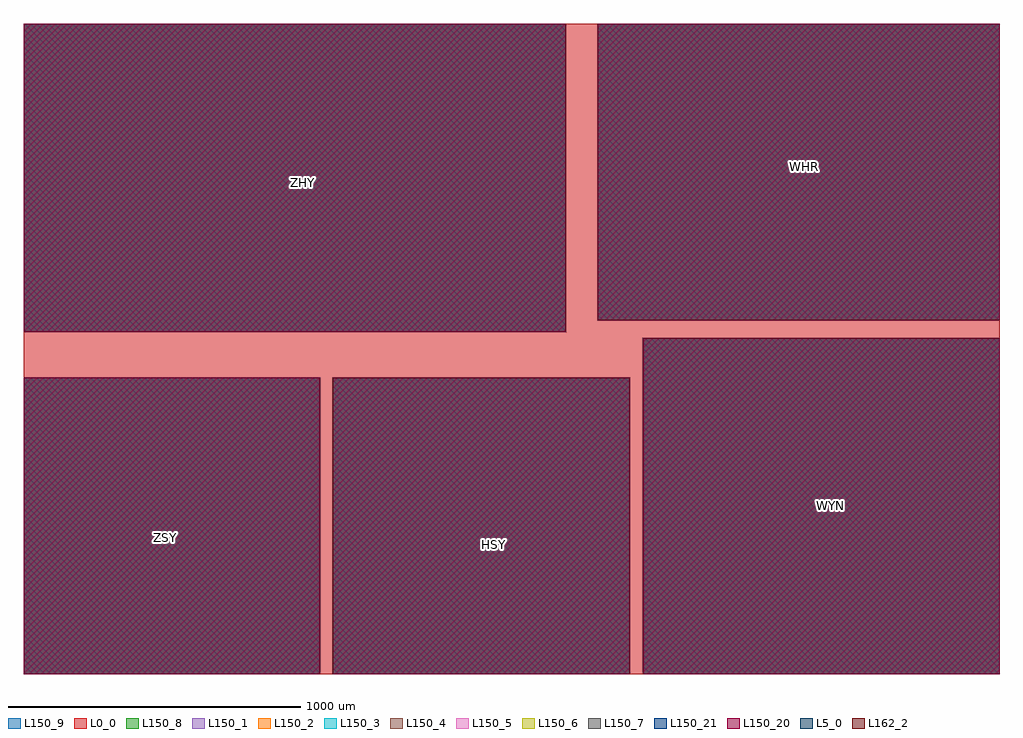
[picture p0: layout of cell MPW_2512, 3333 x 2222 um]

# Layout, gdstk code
import gdstk
lib = gdstk.Library(unit=1e-6, precision=1e-09)
def R(c, l, rs):  # rectangles x0, y0, x1, y1
    for r in rs: c.add(gdstk.rectangle(r[:2], r[2:], *l))
def P(c, l, *ps):  # polygons
    for p in ps: c.add(gdstk.Polygon(p, *l))
L0_0 = (0, 0)
L5_0 = (5, 0)
L150_1 = (150, 1)
L150_2 = (150, 2)
L150_3 = (150, 3)
L150_4 = (150, 4)
L150_5 = (150, 5)
L150_6 = (150, 6)
L150_7 = (150, 7)
L150_8 = (150, 8)
L150_9 = (150, 9)
L150_20 = (150, 20)
L150_21 = (150, 21)
L162_2 = (162, 2)

mpw_2512 = lib.new_cell('MPW_2512')
R(mpw_2512, L0_0, [(0,0,1011.32,1011.32), (0,0,3333,2222), (1057.32,0,2068.64,1011.32), (2116.68,0,3333,1146.32), (0,1170.68,1851.32,2222), (1961.68,1210.68,3333,2222)])
P(mpw_2512, L5_0, [(1961.23,2222),(1961.68,2222),(1961.68,1210.68),(3333,1210.68),(3333,1210.23),(1961.23,1210.23)],
  [(3333,1146.77),(2116.23,1146.77),(2116.23,0),(2116.68,0),(2116.68,1146.32),(3333,1146.32)],
  [(1011.77,1011.77),(0,1011.77),(0,1011.32),(1011.32,1011.32),(1011.32,0),(1011.77,0)],
  [(2069.09,1011.77),(1056.87,1011.77),(1056.87,0),(1057.32,0),(1057.32,1011.32),(2068.64,1011.32),(2068.64,0),(2069.09,0)],
  [(1851.77,2222),(1851.32,2222),(1851.32,1170.68),(0,1170.68),(0,1170.23),(1851.77,1170.23)])
R(mpw_2512, L150_1, [(0,0,1012.32,1012.32), (1056.32,0,2069.64,1012.32), (2115.68,0,3333,1147.32), (0,1169.68,1852.32,2222), (1960.68,1209.68,3333,2222)])
R(mpw_2512, L150_2, [(0,0,1012.32,1012.32), (1056.32,0,2069.64,1012.32), (2115.68,0,3333,1147.32), (0,1169.68,1852.32,2222), (1960.68,1209.68,3333,2222)])
R(mpw_2512, L150_3, [(0,0,1012.32,1012.32), (1056.32,0,2069.64,1012.32), (2115.68,0,3333,1147.32), (0,1169.68,1852.32,2222), (1960.68,1209.68,3333,2222)])
R(mpw_2512, L150_4, [(0,0,1012.32,1012.32), (1056.32,0,2069.64,1012.32), (2115.68,0,3333,1147.32), (0,1169.68,1852.32,2222), (1960.68,1209.68,3333,2222)])
R(mpw_2512, L150_5, [(0,0,1012.32,1012.32), (1056.32,0,2069.64,1012.32), (2115.68,0,3333,1147.32), (0,1169.68,1852.32,2222), (1960.68,1209.68,3333,2222)])
R(mpw_2512, L150_6, [(0,0,1012.32,1012.32), (1056.32,0,2069.64,1012.32), (2115.68,0,3333,1147.32), (0,1169.68,1852.32,2222), (1960.68,1209.68,3333,2222)])
R(mpw_2512, L150_7, [(0,0,1012.32,1012.32), (1056.32,0,2069.64,1012.32), (2115.68,0,3333,1147.32), (0,1169.68,1852.32,2222), (1960.68,1209.68,3333,2222)])
R(mpw_2512, L150_8, [(0,0,1012.32,1012.32), (0,0,1012.32,1012.32), (1056.32,0,2069.64,1012.32), (1056.32,0,2069.64,1012.32), (2115.68,0,3333,1147.32), (2115.68,0,3333,1147.32), (0,1169.68,1852.32,2222), (0,1169.68,1852.32,2222), (1960.68,1209.68,3333,2222), (1960.68,1209.68,3333,2222)])
R(mpw_2512, L150_9, [(0,0,1014.32,1014.32), (0,0,1014.32,1014.32), (0,0,1012.32,1012.32), (1054.32,0,2071.64,1014.32), (1054.32,0,2071.64,1014.32), (1056.32,0,2069.64,1012.32), (2113.68,0,3333,1149.32), (2113.68,0,3333,1149.32), (2115.68,0,3333,1147.32), (0,1167.68,1854.32,2222), (0,1167.68,1854.32,2222), (0,1169.68,1852.32,2222), (1958.68,1207.68,3333,2222), (1958.68,1207.68,3333,2222), (1960.68,1209.68,3333,2222)])
R(mpw_2512, L150_20, [(0,0,1012.32,1012.32), (1056.32,0,2069.64,1012.32), (2115.68,0,3333,1147.32), (0,1169.68,1852.32,2222), (1960.68,1209.68,3333,2222)])
R(mpw_2512, L150_21, [(0,0,1012.32,1012.32), (1056.32,0,2069.64,1012.32), (2115.68,0,3333,1147.32), (0,1169.68,1852.32,2222), (1960.68,1209.68,3333,2222)])
P(mpw_2512, L162_2, [(2069.09,1011.77),(1056.87,1011.77),(1056.87,0),(1057.32,0),(1057.32,1011.32),(2068.64,1011.32),(2068.64,0),(2069.09,0)],
  [(1011.77,1011.77),(0,1011.77),(0,1011.32),(1011.32,1011.32),(1011.32,0),(1011.77,0)],
  [(1851.77,2222),(1851.32,2222),(1851.32,1170.68),(0,1170.68),(0,1170.23),(1851.77,1170.23)],
  [(1961.23,2222),(1961.68,2222),(1961.68,1210.68),(3333,1210.68),(3333,1210.23),(1961.23,1210.23)],
  [(3333,1146.77),(2116.23,1146.77),(2116.23,0),(2116.68,0),(2116.68,1146.32),(3333,1146.32)])
mpw_2512.add(gdstk.Label('WHR', (2667.45,1734.48), layer=0, texttype=0))
mpw_2512.add(gdstk.Label('ZHY', (954.15,1677.89), layer=0, texttype=0))
mpw_2512.add(gdstk.Label('WYN', (2755.385,575.63), layer=0, texttype=0))
mpw_2512.add(gdstk.Label('HSY', (1603.715,445.035), layer=0, texttype=0))
mpw_2512.add(gdstk.Label('ZSY', (483.315,467.63), layer=0, texttype=0))

lib.write_gds('MPW_2512.gds')
